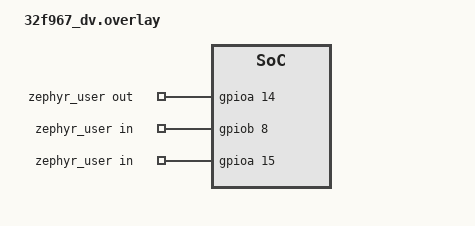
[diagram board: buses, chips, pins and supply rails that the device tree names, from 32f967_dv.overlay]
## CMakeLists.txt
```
# Copyright (c) 2026 ELAN Microelectronics Corp.
# SPDX-License-Identifier: Apache-2.0

cmake_minimum_required(VERSION 3.20.0)

# Add the parent directory as an extra module for driver access
list(APPEND ZEPHYR_EXTRA_MODULES ${CMAKE_CURRENT_LIST_DIR}/../..)

message(STATUS "Include compat_overlays.cmake!")
include(${ZEPHYR_EXTRA_MODULES}/cmake/compat_overlays.cmake)

find_package(Zephyr REQUIRED HINTS $ENV{ZEPHYR_BASE})
project(elan_pa14o_pb8i_pb15i)

target_sources(app PRIVATE src/main.c)
```

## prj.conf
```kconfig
# Copyright (c) 2026 ELAN Microelectronics Corp.
# SPDX-License-Identifier: Apache-2.0

# GPIO driver
CONFIG_GPIO=y
CONFIG_GPIO_EM32=y

# Pins are described in the device tree (DTS method)
CONFIG_PINCTRL=y
CONFIG_PINCTRL_EM32=y

# SPI2 loopback test
CONFIG_SPI=y

# Console output
CONFIG_CONSOLE=y
CONFIG_UART_CONSOLE=y

# Logging
CONFIG_LOG=y
CONFIG_LOG_DEFAULT_LEVEL=3
CONFIG_LOG_BUFFER_SIZE=8192
```

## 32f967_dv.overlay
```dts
#include <elan/32f967_dv_priv.dtsi>

/*
 * GPIO test pins described entirely in the device tree (the "DTS method").
 *
 *   PA14  -> output, toggled 1/0 every second
 *   PB8   -> input,  read every second
 *   PA15  -> input,  read every second
 *
 * The pins are exposed to the application through the standard `zephyr,user`
 * node as `gpios` phandles (controller + pin + flags). The application reads
 * them with GPIO_DT_SPEC_GET()/GPIO_DT_SPEC_GET_BY_IDX(); no register address
 * is hard-coded in C. The em32 GPIO driver puts the pins in GPIO mode at init.
 */
/ {
	zephyr_user: zephyr,user {
		/* PA14 - output, toggled every second */
		out-gpios = <&gpioa 14 GPIO_ACTIVE_HIGH>;

		/* PB8 (index 0) and PA15 (index 1) - inputs, read every second */
		in-gpios = <&gpiob 8 GPIO_ACTIVE_HIGH>,
			   <&gpioa 15 GPIO_ACTIVE_HIGH>;
	};
};

/* Enable the GPIO controllers used by the sample (disabled by board DTS) */
&gpioa {
	status = "okay";
};

&gpiob {
	status = "okay";
};
```

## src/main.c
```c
/*
 * Copyright (c) 2026 ELAN Microelectronics Corp.
 * SPDX-License-Identifier: Apache-2.0
 *
 * EM32F967 GPIO + SPI2 loopback sample
 *
 * GPIO (DTS "zephyr,user" method):
 *   - PA14 is configured as an output and toggled 1/0 every second.
 *   - PB8 and PA15 are configured as inputs; their levels are read and printed
 *     to the console every second.
 *
 * SPI2 loopback (PB4-PB7):
 *   - PB4 (CS)   : SPI2_CS   (GPIO-controlled chip-select, see cs-gpios)
 *   - PB5 (SCK)  : SPI2_SCK  (pinctrl AF2)
 *   - PB6 (MISO) : SPI2_MISO (pinctrl AF2)
 *   - PB7 (MOSI) : SPI2_MOSI (pinctrl AF2)
 *   - A fixed pattern is sent every second; with MOSI (PB7) wired to MISO
 *     (PB6) the received bytes should match the transmitted bytes. The
 *     PASS/FAIL result is printed to the console once per second.
 *
 * The spi2 node, its pinctrl group and cs-gpios all come from the device tree
 * (board DTS + 32f967_dv_priv.dtsi); no register address is hard-coded in C.
 */

#include <string.h>
#include <zephyr/kernel.h>
#include <zephyr/device.h>
#include <zephyr/drivers/gpio.h>
#include <zephyr/drivers/spi.h>
#include <zephyr/sys/printk.h>

#define ZEPHYR_USER_NODE DT_PATH(zephyr_user)
#define SPI2_NODE        DT_CHOSEN(zephyr_spi2)

/* Fail the build early if spi2 is not enabled in the device tree. */
BUILD_ASSERT(DT_NODE_HAS_STATUS(SPI2_NODE, okay), "spi2 node is not enabled");

/* PA14 = output (toggled); PB8 = in[0], PA15 = in[1] (read) */
static const struct gpio_dt_spec out_pa14 =
	GPIO_DT_SPEC_GET(ZEPHYR_USER_NODE, out_gpios);
static const struct gpio_dt_spec in_pb8 =
	GPIO_DT_SPEC_GET_BY_IDX(ZEPHYR_USER_NODE, in_gpios, 0);
static const struct gpio_dt_spec in_pa15 =
	GPIO_DT_SPEC_GET_BY_IDX(ZEPHYR_USER_NODE, in_gpios, 1);

/* SPI2 device + GPIO chip-select (PB4) taken from the device tree. */
static const struct device *const spi2_dev = DEVICE_DT_GET(SPI2_NODE);

static const struct spi_config spi2_cfg = {
	.frequency = 1000000U, /* 1 MHz */
	.operation = SPI_WORD_SET(8) | SPI_TRANSFER_MSB,
	.slave = 0,
	.cs = {
		.gpio = GPIO_DT_SPEC_GET(SPI2_NODE, cs_gpios),
		.delay = 0,
	},
};

/* Initial data sent on MOSI/MISO for the loopback test. */
#define SPI_TEST_BUF_SIZE 8
static const uint8_t spi_tx_buf[SPI_TEST_BUF_SIZE] = {0x55, 0xAA, 0x33, 0xCC,
						     0x0F, 0xF0, 0x5A, 0xA5};
static uint8_t spi_rx_buf[SPI_TEST_BUF_SIZE];

static void describe_spi2_pins(void)
{
	printk("\n=== Configuring SPI2 Pins for Loopback Test ===\n");
	printk("SPI2 pins (PB4-PB7) are configured by pinctrl system as AF2 (SPI function)\n");
	printk("PB4 (CS): Configured as SPI2_CS by pinctrl\n");
	printk("PB5 (SCK): Configured as SPI2_SCK by pinctrl\n");
	printk("PB6 (MISO): Configured as SPI2_MISO by pinctrl\n");
	printk("PB7 (MOSI): Configured as SPI2_MOSI by pinctrl\n");
	printk("INFO: For loopback, wire PB7 (MOSI) to PB6 (MISO)\n");
}

/*
 * Run one SPI2 transceive of the test pattern and report whether the received
 * bytes match the transmitted bytes (i.e. MOSI looped back to MISO).
 * Returns 0 on a matching loopback, 1 on mismatch, negative on transfer error.
 */
static int spi2_loopback_once(void)
{
	const struct spi_buf tx = {.buf = (void *)spi_tx_buf, .len = SPI_TEST_BUF_SIZE};
	const struct spi_buf rx = {.buf = spi_rx_buf, .len = SPI_TEST_BUF_SIZE};
	const struct spi_buf_set tx_set = {.buffers = &tx, .count = 1};
	const struct spi_buf_set rx_set = {.buffers = &rx, .count = 1};
	int ret;

	memset(spi_rx_buf, 0, sizeof(spi_rx_buf));

	ret = spi_transceive(spi2_dev, &spi2_cfg, &tx_set, &rx_set);
	if (ret < 0) {
		printk("SPI2 loopback: transceive error %d\n", ret);
		return ret;
	}

	printk("SPI2 TX:");
	for (int i = 0; i < SPI_TEST_BUF_SIZE; i++) {
		printk(" 0x%02X", spi_tx_buf[i]);
	}
	printk(" | RX:");
	for (int i = 0; i < SPI_TEST_BUF_SIZE; i++) {
		printk(" 0x%02X", spi_rx_buf[i]);
	}

	if (memcmp(spi_tx_buf, spi_rx_buf, SPI_TEST_BUF_SIZE) == 0) {
		printk(" | RESULT: PASS (loopback OK)\n");
		return 0;
	}

	printk(" | RESULT: FAIL (RX != TX)\n");
	return 1;
}

int main(void)
{
	int ret;
	int level = 0;

	printk("EM32F967 GPIO + SPI2 loopback sample\n");
	printk("=========================================================\n");

	/* Verify all GPIO controllers and the SPI2 device are ready. */
	if (!gpio_is_ready_dt(&out_pa14) || !gpio_is_ready_dt(&in_pb8) ||
	    !gpio_is_ready_dt(&in_pa15)) {
		printk("Error: a GPIO controller is not ready\n");
		return -ENODEV;
	}

	if (!device_is_ready(spi2_dev)) {
		printk("Error: SPI2 device not ready\n");
		return -ENODEV;
	}

	if (!gpio_is_ready_dt(&spi2_cfg.cs.gpio)) {
		printk("Error: SPI2 CS GPIO (PB4) not ready\n");
		return -ENODEV;
	}

	/* PA14 as output, start low. */
	ret = gpio_pin_configure_dt(&out_pa14, GPIO_OUTPUT_INACTIVE);
	if (ret < 0) {
		printk("Error %d: failed to configure PA14 (%s pin %d) as output\n", ret,
		       out_pa14.port->name, out_pa14.pin);
		return ret;
	}

	/* PB8 and PA15 as inputs. */
	ret = gpio_pin_configure_dt(&in_pb8, GPIO_INPUT);
	if (ret < 0) {
		printk("Error %d: failed to configure PB8 (%s pin %d) as input\n", ret,
		       in_pb8.port->name, in_pb8.pin);
		return ret;
	}

	ret = gpio_pin_configure_dt(&in_pa15, GPIO_INPUT);
	if (ret < 0) {
		printk("Error %d: failed to configure PA15 (%s pin %d) as input\n", ret,
		       in_pa15.port->name, in_pa15.pin);
		return ret;
	}

	printk("Setup OK: PA14=%s.%d (out), PB8=%s.%d (in), PA15=%s.%d (in)\n",
	       out_pa14.port->name, out_pa14.pin, in_pb8.port->name, in_pb8.pin,
	       in_pa15.port->name, in_pa15.pin);

	describe_spi2_pins();
	printk("SPI2 ready: %s, CS=%s.%d, %u Hz, 8-bit MSB-first\n\n", spi2_dev->name,
	       spi2_cfg.cs.gpio.port->name, spi2_cfg.cs.gpio.pin, spi2_cfg.frequency);

	while (1) {
		/* 1) Toggle PA14. */
		level = !level;
		ret = gpio_pin_set_dt(&out_pa14, level);
		if (ret < 0) {
			printk("Error %d: failed to set PA14\n", ret);
			break;
		}

		/* 2) Read the two inputs. */
		int v_pb8 = gpio_pin_get_dt(&in_pb8);
		int v_pa15 = gpio_pin_get_dt(&in_pa15);

		if (v_pb8 < 0 || v_pa15 < 0) {
			printk("Error reading inputs (PB8=%d, PA15=%d)\n", v_pb8, v_pa15);
			break;
		}

		printk("PA14(out)=%d | PB8(in)=%d | PA15(in)=%d\n", level, v_pb8, v_pa15);

		/* 3) Run one SPI2 loopback transaction and print the result. */
		(void)spi2_loopback_once();

		k_msleep(1000);
	}

	return 0;
}
```
